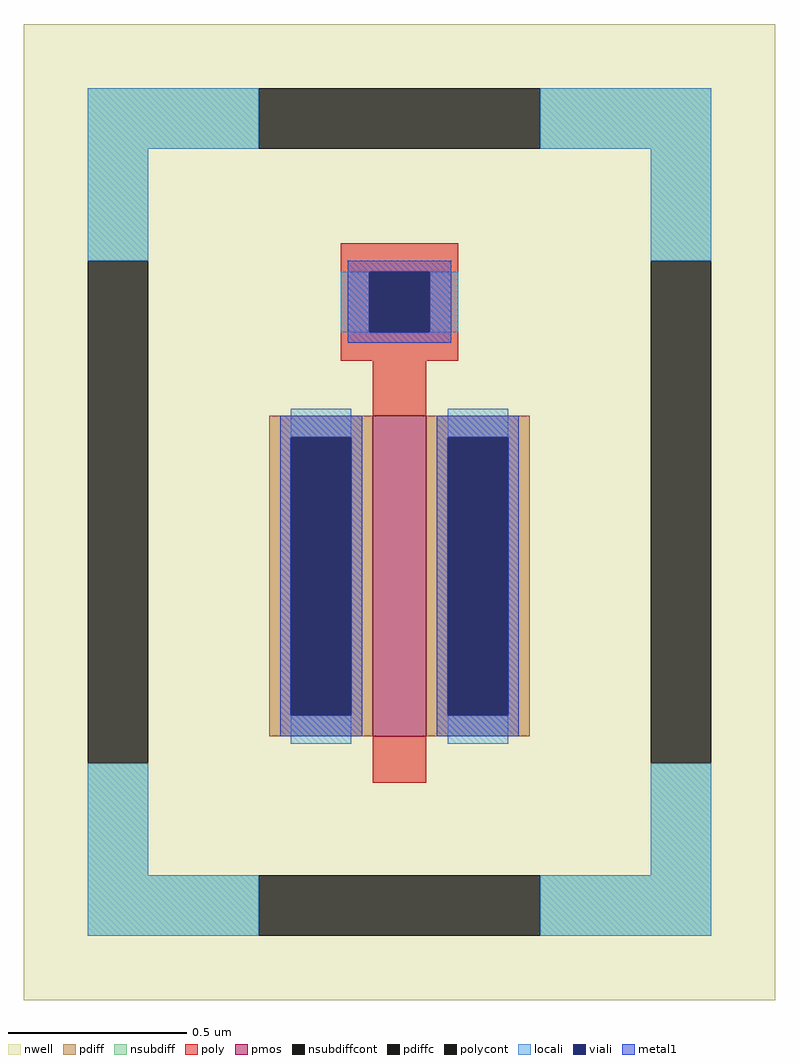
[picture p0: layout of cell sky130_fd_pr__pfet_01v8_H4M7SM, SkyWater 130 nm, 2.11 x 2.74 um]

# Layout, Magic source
magic
tech sky130A
magscale 1 2
<< nwell >>
rect -211 -274 211 274
<< pmos >>
rect -15 -126 15 54
<< pdiff >>
rect -73 42 -15 54
rect -73 -114 -61 42
rect -27 -114 -15 42
rect -73 -126 -15 -114
rect 15 42 73 54
rect 15 -114 27 42
rect 61 -114 73 42
rect 15 -126 73 -114
<< pdiffc >>
rect -61 -114 -27 42
rect 27 -114 61 42
<< nsubdiff >>
rect -175 204 -79 238
rect 79 204 175 238
rect -175 141 -141 204
rect 141 141 175 204
rect -175 -204 -141 -141
rect 141 -204 175 -141
rect -175 -238 -79 -204
rect 79 -238 175 -204
<< nsubdiffcont >>
rect -79 204 79 238
rect -175 -141 -141 141
rect 141 -141 175 141
rect -79 -238 79 -204
<< poly >>
rect -33 135 33 151
rect -33 101 -17 135
rect 17 101 33 135
rect -33 85 33 101
rect -15 54 15 85
rect -15 -152 15 -126
<< polycont >>
rect -17 101 17 135
<< locali >>
rect -175 204 -79 238
rect 79 204 175 238
rect -175 141 -141 204
rect 141 141 175 204
rect -33 101 -17 135
rect 17 101 33 135
rect -61 42 -27 58
rect -61 -130 -27 -114
rect 27 42 61 58
rect 27 -130 61 -114
rect -175 -204 -141 -141
rect 141 -204 175 -141
rect -175 -238 -79 -204
rect 79 -238 175 -204
<< viali >>
rect -17 101 17 135
rect -61 -114 -27 42
rect 27 -114 61 42
<< metal1 >>
rect -29 135 29 141
rect -29 101 -17 135
rect 17 101 29 135
rect -29 95 29 101
rect -67 42 -21 54
rect -67 -114 -61 42
rect -27 -114 -21 42
rect -67 -126 -21 -114
rect 21 42 67 54
rect 21 -114 27 42
rect 61 -114 67 42
rect 21 -126 67 -114
<< properties >>
string gencell sky130_fd_pr__pfet_01v8
string FIXED_BBOX -158 -221 158 221
string parameters w 0.9 l 0.15 m 1 nf 1 diffcov 100 polycov 100 guard 1 glc 1 grc 1 gtc 1 gbc 1 tbcov 100 rlcov 100 topc 1 botc 0 poverlap 0 doverlap 1 lmin 0.15 wmin 0.42 compatible {sky130_fd_pr__pfet_01v8  sky130_fd_pr__pfet_01v8_lvt sky130_fd_pr__pfet_01v8_hvt  sky130_fd_pr__pfet_g5v0d10v5} full_metal 1 viagl 0 viagr 0 viagt 0 viagb 0 viagate 100 viadrn 100 viasrc 100
string library sky130
<< end >>
